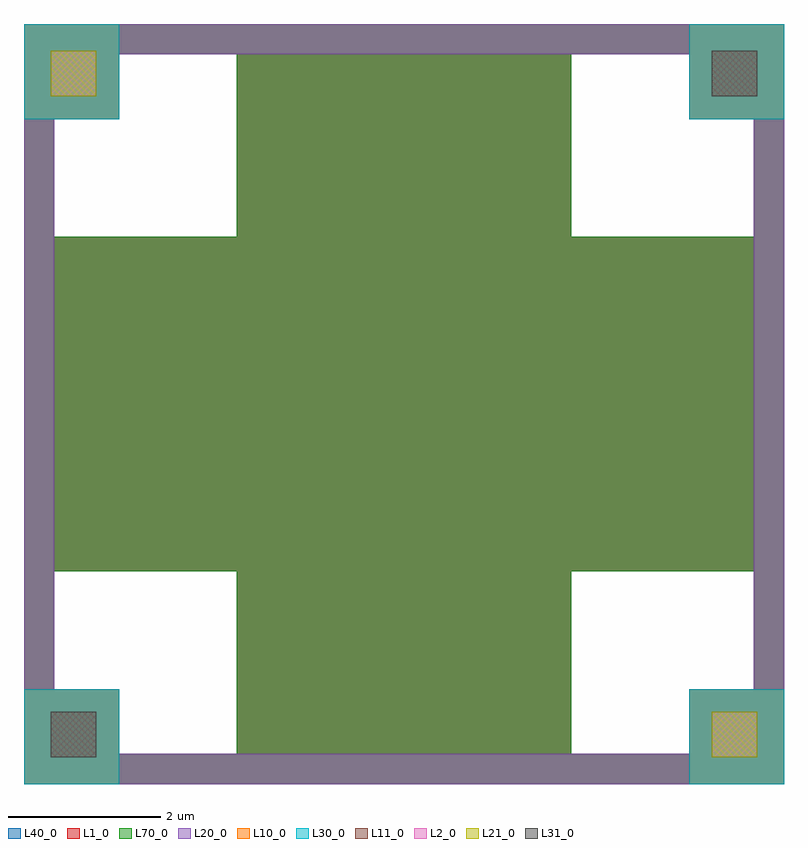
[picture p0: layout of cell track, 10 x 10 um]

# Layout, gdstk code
import gdstk
lib = gdstk.Library(unit=1e-6, precision=1e-09)
def R(c, l, rs):  # rectangles x0, y0, x1, y1
    for r in rs: c.add(gdstk.rectangle(r[:2], r[2:], *l))
def P(c, l, *ps):  # polygons
    for p in ps: c.add(gdstk.Polygon(p, *l))
L1_0 = (1, 0)
L2_0 = (2, 0)
L10_0 = (10, 0)
L11_0 = (11, 0)
L20_0 = (20, 0)
L21_0 = (21, 0)
L30_0 = (30, 0)
L31_0 = (31, 0)
L40_0 = (40, 0)
L70_0 = (70, 0)

track = lib.new_cell('track')
P(track, L1_0, [(0,0),(0,10),(1.25,10),(1.25,8.75),(0.4,8.75),(0.4,1.25),(1.25,1.25),(1.25,0.4),(2.8,0.4),(2.8,2.8),(0.4,2.8),(0.4,7.2),(2.8,7.2),(2.8,9.6),(1.25,9.6),(1.25,10),(7.2,10),(7.2,0.4),(8.75,0.4),(8.75,1.25),(9.6,1.25),(9.6,2.8),(7.2,2.8),(7.2,7.2),(9.6,7.2),(9.6,8.75),(8.75,8.75),(8.75,9.6),(7.2,9.6),(7.2,10),(10,10),(10,0)])
R(track, L2_0, [(9.05,0.35,9.65,0.95), (0.35,9.05,0.95,9.65)])
R(track, L10_0, [(0,0,1.25,1.25), (8.75,0,10,1.25), (0,8.75,1.25,10), (8.75,8.75,10,10)])
R(track, L11_0, [(0.35,0.35,0.95,0.95), (9.05,9.05,9.65,9.65)])
P(track, L20_0, [(0,0),(0,10),(1.25,10),(1.25,8.75),(0.4,8.75),(0.4,1.25),(1.25,1.25),(1.25,0.4),(8.75,0.4),(8.75,1.25),(9.6,1.25),(9.6,8.75),(8.75,8.75),(8.75,9.6),(1.25,9.6),(1.25,10),(10,10),(10,0)])
R(track, L21_0, [(9.05,0.35,9.65,0.95), (0.35,9.05,0.95,9.65)])
R(track, L30_0, [(0,0,1.25,1.25), (8.75,0,10,1.25), (0,8.75,1.25,10), (8.75,8.75,10,10)])
R(track, L31_0, [(0.35,0.35,0.95,0.95), (9.05,9.05,9.65,9.65)])
P(track, L40_0, [(0,0),(0,10),(1.25,10),(1.25,8.75),(0.4,8.75),(0.4,1.25),(1.25,1.25),(1.25,0.4),(2.8,0.4),(2.8,2.8),(0.4,2.8),(0.4,7.2),(2.8,7.2),(2.8,9.6),(1.25,9.6),(1.25,10),(7.2,10),(7.2,0.4),(8.75,0.4),(8.75,1.25),(9.6,1.25),(9.6,2.8),(7.2,2.8),(7.2,7.2),(9.6,7.2),(9.6,8.75),(8.75,8.75),(8.75,9.6),(7.2,9.6),(7.2,10),(10,10),(10,0)])
P(track, L70_0, [(0,0),(0,10),(1.25,10),(1.25,8.75),(0.4,8.75),(0.4,1.25),(1.25,1.25),(1.25,0.4),(2.8,0.4),(2.8,2.8),(0.4,2.8),(0.4,7.2),(2.8,7.2),(2.8,9.6),(1.25,9.6),(1.25,10),(7.2,10),(7.2,0.4),(8.75,0.4),(8.75,1.25),(9.6,1.25),(9.6,2.8),(7.2,2.8),(7.2,7.2),(9.6,7.2),(9.6,8.75),(8.75,8.75),(8.75,9.6),(7.2,9.6),(7.2,10),(10,10),(10,0)])

lib.write_gds('track.gds')
